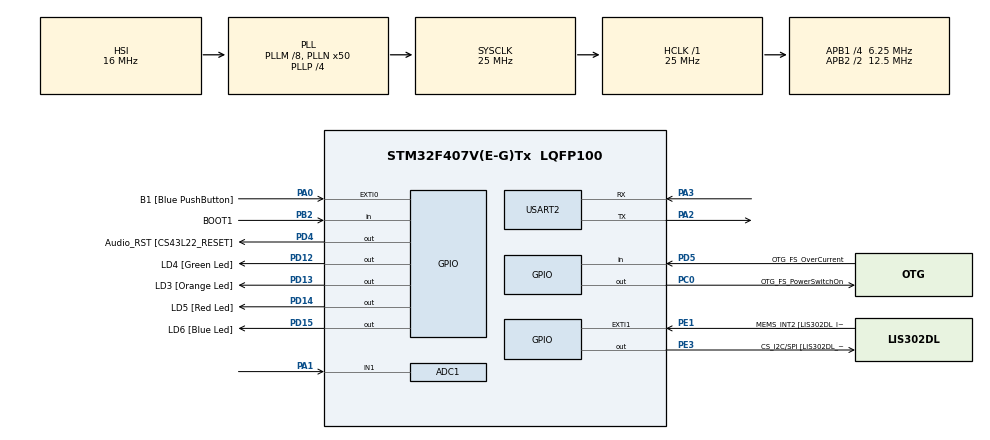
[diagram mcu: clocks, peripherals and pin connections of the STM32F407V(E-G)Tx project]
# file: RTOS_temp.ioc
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ADC1.Channel-0\#ChannelRegularConversion=ADC_CHANNEL_1
ADC1.NbrOfConversionFlag=1
ADC1.Rank-0\#ChannelRegularConversion=1
ADC1.SamplingTime-0\#ChannelRegularConversion=ADC_SAMPLETIME_84CYCLES
ADC1.master=1
Mcu.Family=STM32F4
Mcu.Name=STM32F407V(E-G)Tx
Mcu.Package=LQFP100
NVIC.ADC_IRQn=true\:5\:0\:true\:false\:true\:true\:true\:true
NVIC.PriorityGroup=NVIC_PRIORITYGROUP_4
NVIC.TIM2_IRQn=true\:6\:0\:true\:false\:true\:true\:true\:true
PA0-WKUP.GPIO_Label=B1 [Blue PushButton]
PA0-WKUP.Signal=GPXTI0
PA1.Signal=ADCx_IN1
PA10.GPIO_Label=OTG_FS_ID
PA10.GPIO_Mode=GPIO_MODE_AF_PP
PA10.GPIO_PuPd=GPIO_NOPULL
PA10.GPIO_Speed=GPIO_SPEED_FREQ_LOW
PA10.Signal=USB_OTG_FS_ID
PA11.GPIO_Label=OTG_FS_DM
PA11.GPIO_Mode=GPIO_MODE_AF_PP
PA11.GPIO_PuPd=GPIO_NOPULL
PA11.GPIO_Speed=GPIO_SPEED_FREQ_LOW
PA11.Signal=USB_OTG_FS_DM
PA12.GPIO_Label=OTG_FS_DP
PA12.GPIO_Mode=GPIO_MODE_AF_PP
PA12.GPIO_PuPd=GPIO_NOPULL
PA12.GPIO_Speed=GPIO_SPEED_FREQ_LOW
PA12.Signal=USB_OTG_FS_DP
PA13.GPIO_Label=SWDIO
PA13.Signal=SYS_JTMS-SWDIO
PA14.GPIO_Label=SWCLK
PA14.Signal=SYS_JTCK-SWCLK
PA2.Mode=Asynchronous
PA2.Signal=USART2_TX
PA3.Mode=Asynchronous
PA3.Signal=USART2_RX
PA4.GPIO_Label=I2S3_WS [CS43L22_LRCK]
PA4.GPIO_Mode=GPIO_MODE_AF_PP
PA4.GPIO_PuPd=GPIO_NOPULL
PA4.GPIO_Speed=GPIO_SPEED_FREQ_LOW
PA4.Signal=I2S3_WS
PA5.GPIO_Label=SPI1_SCK [LIS302DL_SCL/SPC]
PA5.GPIO_Mode=GPIO_MODE_AF_PP
PA5.GPIO_PuPd=GPIO_NOPULL
PA5.GPIO_Speed=GPIO_SPEED_FREQ_LOW
PA5.Signal=SPI1_SCK
PA6.GPIO_Label=SPI1_MISO [LIS302DL_SDO]
PA6.GPIO_Mode=GPIO_MODE_AF_PP
PA6.GPIO_PuPd=GPIO_NOPULL
PA6.GPIO_Speed=GPIO_SPEED_FREQ_LOW
PA6.Signal=SPI1_MISO
PA7.GPIO_Label=SPI1_MOSI [LIS302DL_SDA/SDI/SDO]
PA7.GPIO_Mode=GPIO_MODE_AF_PP
PA7.GPIO_PuPd=GPIO_NOPULL
PA7.GPIO_Speed=GPIO_SPEED_FREQ_LOW
PA7.Signal=SPI1_MOSI
PA9.GPIO_Label=VBUS_FS
PA9.GPIO_Mode=GPIO_MODE_INPUT
PA9.GPIO_PuPd=GPIO_NOPULL
PA9.Signal=USB_OTG_FS_VBUS
PB10.GPIO_Label=CLK_IN [MP45DT02_CLK]
PB10.GPIO_Mode=GPIO_MODE_AF_PP
PB10.GPIO_PuPd=GPIO_NOPULL
PB10.GPIO_Speed=GPIO_SPEED_FREQ_LOW
PB10.Signal=I2S2_CK
PB2.GPIO_Label=BOOT1
PB2.GPIO_Mode=GPIO_MODE_INPUT
PB2.GPIO_PuPd=GPIO_NOPULL
PB2.Signal=GPIO_Input
PB3.GPIO_Label=SWO
PB3.Signal=SYS_JTDO-SWO
PB6.GPIO_Label=Audio_SCL [CS43L22_SCL]
PB6.GPIO_Mode=GPIO_MODE_AF_OD
PB6.GPIO_PuPd=GPIO_NOPULL
PB6.GPIO_Speed=GPIO_SPEED_FREQ_LOW
PB6.Signal=I2C1_SCL
PB9.GPIO_Label=Audio_SDA [CS43L22_SDA]
PB9.GPIO_Mode=GPIO_MODE_AF_OD
PB9.GPIO_PuPd=GPIO_NOPULL
PB9.GPIO_Speed=GPIO_SPEED_FREQ_LOW
PB9.Signal=I2C1_SDA
PC0.GPIO_Label=OTG_FS_PowerSwitchOn
PC0.GPIO_PuPd=GPIO_NOPULL
PC0.GPIO_Speed=GPIO_SPEED_FREQ_LOW
PC0.PinState=GPIO_PIN_SET
PC0.Signal=GPIO_Output
PC10.GPIO_Label=I2S3_SCK [CS43L22_SCLK]
PC10.GPIO_Mode=GPIO_MODE_AF_PP
PC10.GPIO_PuPd=GPIO_NOPULL
PC10.GPIO_Speed=GPIO_SPEED_FREQ_LOW
PC10.Signal=I2S3_CK
PC12.GPIO_Label=I2S3_SD [CS43L22_SDIN]
PC12.GPIO_Mode=GPIO_MODE_AF_PP
PC12.GPIO_PuPd=GPIO_NOPULL
PC12.GPIO_Speed=GPIO_SPEED_FREQ_LOW
PC12.Signal=I2S3_SD
PC14-OSC32_IN.GPIO_Label=PC14-OSC32_IN
PC14-OSC32_IN.Signal=RCC_OSC32_IN
PC15-OSC32_OUT.GPIO_Label=PC15-OSC32_OUT
PC15-OSC32_OUT.Signal=RCC_OSC32_OUT
PC3.GPIO_Label=PDM_OUT [MP45DT02_DOUT]
PC3.GPIO_Mode=GPIO_MODE_AF_PP
PC3.GPIO_PuPd=GPIO_NOPULL
PC3.GPIO_Speed=GPIO_SPEED_FREQ_LOW
PC3.Signal=I2S2_SD
PC7.GPIO_Label=I2S3_MCK [CS43L22_MCLK]
PC7.GPIO_Mode=GPIO_MODE_AF_PP
PC7.GPIO_PuPd=GPIO_NOPULL
PC7.GPIO_Speed=GPIO_SPEED_FREQ_LOW
PC7.Signal=I2S3_MCK
PD12.GPIO_Label=LD4 [Green Led]
PD12.GPIO_PuPd=GPIO_NOPULL
PD12.GPIO_Speed=GPIO_SPEED_FREQ_LOW
PD12.Signal=GPIO_Output
PD13.GPIO_Label=LD3 [Orange Led]
PD13.GPIO_PuPd=GPIO_NOPULL
PD13.GPIO_Speed=GPIO_SPEED_FREQ_LOW
PD13.Signal=GPIO_Output
PD14.GPIO_Label=LD5 [Red Led]
PD14.GPIO_PuPd=GPIO_NOPULL
PD14.GPIO_Speed=GPIO_SPEED_FREQ_LOW
PD14.Signal=GPIO_Output
PD15.GPIO_Label=LD6 [Blue Led]
PD15.GPIO_PuPd=GPIO_NOPULL
PD15.GPIO_Speed=GPIO_SPEED_FREQ_LOW
PD15.Signal=GPIO_Output
PD4.GPIO_Label=Audio_RST [CS43L22_RESET]
PD4.GPIO_PuPd=GPIO_NOPULL
PD4.GPIO_Speed=GPIO_SPEED_FREQ_LOW
PD4.Signal=GPIO_Output
PD5.GPIO_Label=OTG_FS_OverCurrent
PD5.GPIO_Mode=GPIO_MODE_INPUT
PD5.GPIO_PuPd=GPIO_NOPULL
PD5.Signal=GPIO_Input
PE1.GPIO_Label=MEMS_INT2 [LIS302DL_INT2]
PE1.GPIO_ModeDefaultEXTI=GPIO_MODE_EVT_RISING
PE1.GPIO_PuPd=GPIO_NOPULL
PE1.Signal=GPXTI1
PE3.GPIO_Label=CS_I2C/SPI [LIS302DL_CS_I2C/SPI]
PE3.GPIO_PuPd=GPIO_NOPULL
PE3.GPIO_Speed=GPIO_SPEED_FREQ_LOW
PE3.Signal=GPIO_Output
PH0-OSC_IN.GPIO_Label=PH0-OSC_IN
PH0-OSC_IN.Signal=RCC_OSC_IN
PH1-OSC_OUT.GPIO_Label=PH1-OSC_OUT
PH1-OSC_OUT.Signal=RCC_OSC_OUT
ProjectManager.HeapSize=0x200
ProjectManager.StackSize=0x400
ProjectManager.TargetToolchain=STM32CubeIDE
RCC.48MHZClocksFreq_Value=14285714.285714285
RCC.AHBFreq_Value=25000000
RCC.APB1CLKDivider=RCC_HCLK_DIV4
RCC.APB1Freq_Value=6250000
RCC.APB1TimFreq_Value=12500000
RCC.APB2CLKDivider=RCC_HCLK_DIV2
RCC.APB2Freq_Value=12500000
RCC.APB2TimFreq_Value=25000000
RCC.CortexFreq_Value=25000000
RCC.HCLKFreq_Value=25000000
RCC.HSE_VALUE=8000000
RCC.HSI_VALUE=16000000
RCC.LSE_VALUE=32768
RCC.PLLM=8
RCC.PLLN=50
RCC.PLLP=RCC_PLLP_DIV4
RCC.PLLQ=7
RCC.SYSCLKFreq_VALUE=25000000
RCC.SYSCLKSource=RCC_SYSCLKSOURCE_PLLCLK
RCC.VCOOutputFreq_Value=100000000
SH.ADCx_IN1.0=ADC1_IN1,IN1
TIM2.Period=999
TIM2.Prescaler=12499
USART2.VirtualMode=VM_ASYNC
VP_TIM2_VS_ClockSourceINT.Mode=Internal
board=STM32F407G-DISC1

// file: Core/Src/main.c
/* USER CODE BEGIN Header */
/**
  ******************************************************************************
  * @file           : main.c
  * @brief          : Main program body
  ******************************************************************************
  * @attention
  *
  * Copyright (c) 2026 STMicroelectronics.
  * All rights reserved.
  *
  * This software is licensed under terms that can be found in the LICENSE file
  * in the root directory of this software component.
  * If no LICENSE file comes with this software, it is provided AS-IS.
  *
  ******************************************************************************
  */
/* USER CODE END Header */
#include "main.h"

/* USER CODE BEGIN Includes */

#include "FreeRTOS.h"
#include "task.h"
#include "queue.h"
#include <stdint.h>
#include <stdio.h>
#include <string.h>

/* USER CODE END Includes */

/* USER CODE BEGIN PD */

#define TEMP_THRESHOLD_C        30.0f
#define ADC_REFERENCE_VOLTAGE    3.3f
#define ADC_MAX_VALUE         4095.0f
#define TEMP_QUEUE_LENGTH        10U
#define UART_TIMEOUT_MS         200U

/* USER CODE END PD */

ADC_HandleTypeDef hadc1;

TIM_HandleTypeDef htim2;

UART_HandleTypeDef huart2;

/* USER CODE BEGIN PV */

/* FreeRTOS task handles */
TaskHandle_t xTempReadTaskHandle = NULL;
TaskHandle_t xTempProcessTaskHandle = NULL;
TaskHandle_t xTimeStartTaskHandle = NULL;

/* FreeRTOS queue handle */
QueueHandle_t xTempQueue = NULL;

/* Diagnostic counters */
volatile uint32_t ulADCStartErrors = 0;
volatile uint32_t ulDroppedSamples = 0;
volatile uint32_t ulUARTTransmitErrors = 0;

/* USER CODE END PV */

void SystemClock_Config(void);
static void MX_GPIO_Init(void);
static void MX_ADC1_Init(void);
static void MX_TIM2_Init(void);
static void MX_USART2_UART_Init(void);
/* USER CODE BEGIN PFP */

/* Temperature acquisition task */
void vTaskReadTemperature(void *pvParameters);

/* Temperature processing task */
void vTaskProcessTemperature(void *pvParameters);

/* Timer initialization task */
void vTaskStartTime(void *pvParameters);

/* ADC to temperature conversion */
float ADC_To_Temperature(uint32_t rawADC);

/* USER CODE END PFP */

int main(void)
{

  /* MCU Configuration--------------------------------------------------------*/

  /* Reset of all peripherals, Initializes the Flash interface and the Systick. */
  HAL_Init();

  /* Configure the system clock */
  SystemClock_Config();

  /* Initialize all configured peripherals */
  MX_GPIO_Init();
  MX_ADC1_Init();
  MX_TIM2_Init();
  MX_USART2_UART_Init();
  /* USER CODE BEGIN 2 */

  BaseType_t task_1;
  BaseType_t task_2;
  BaseType_t task_3;

  /* Create temperature queue */
  xTempQueue = xQueueCreate(TEMP_QUEUE_LENGTH, sizeof(float));

  if (xTempQueue == NULL)
  {
      Error_Handler();
  }

  /* Task 1: Temperature acquisition */
  task_1 = xTaskCreate(
      vTaskReadTemperature,
      "ReadTemp",
      256,
      NULL,
      tskIDLE_PRIORITY + 2,
      &xTempReadTaskHandle
  );

  /* Task 2: Temperature processing */
  task_2 = xTaskCreate(
      vTaskProcessTemperature,
      "ProcessTemp",
      512,
      NULL,
      tskIDLE_PRIORITY + 1,
      &xTempProcessTaskHandle
  );

  /* Task 3: Start TIM2 */
  task_3 = xTaskCreate(
      vTaskStartTime,
      "StartTime",
      200,
      NULL,
      tskIDLE_PRIORITY + 3,
      &xTimeStartTaskHandle
  );

  /* Verify task creation */
  if ((task_1 != pdPASS) ||
      (task_2 != pdPASS) ||
      (task_3 != pdPASS))
  {
      Error_Handler();
  }

  /* Start FreeRTOS scheduler */
  vTaskStartScheduler();

  /* Scheduler should never return */
  Error_Handler();

  /* USER CODE END 2 */

  /* Infinite loop */
  while (1)
  {

  }
}

void SystemClock_Config(void)
{
  RCC_OscInitTypeDef RCC_OscInitStruct = {0};
  RCC_ClkInitTypeDef RCC_ClkInitStruct = {0};

  /** Configure the main internal regulator output voltage
  */
  __HAL_RCC_PWR_CLK_ENABLE();
  __HAL_PWR_VOLTAGESCALING_CONFIG(PWR_REGULATOR_VOLTAGE_SCALE1);

  /** Initializes the RCC Oscillators according to the specified parameters
  * in the RCC_OscInitTypeDef structure.
  */
  RCC_OscInitStruct.OscillatorType = RCC_OSCILLATORTYPE_HSI;
  RCC_OscInitStruct.HSIState = RCC_HSI_ON;
  RCC_OscInitStruct.HSICalibrationValue = RCC_HSICALIBRATION_DEFAULT;
  RCC_OscInitStruct.PLL.PLLState = RCC_PLL_ON;
  RCC_OscInitStruct.PLL.PLLSource = RCC_PLLSOURCE_HSI;
  RCC_OscInitStruct.PLL.PLLM = 8;
  RCC_OscInitStruct.PLL.PLLN = 50;
  RCC_OscInitStruct.PLL.PLLP = RCC_PLLP_DIV4;
  RCC_OscInitStruct.PLL.PLLQ = 7;
  if (HAL_RCC_OscConfig(&RCC_OscInitStruct) != HAL_OK)
  {
    Error_Handler();
  }

  /** Initializes the CPU, AHB and APB buses clocks
  */
  RCC_ClkInitStruct.ClockType = RCC_CLOCKTYPE_HCLK|RCC_CLOCKTYPE_SYSCLK
                              |RCC_CLOCKTYPE_PCLK1|RCC_CLOCKTYPE_PCLK2;
  RCC_ClkInitStruct.SYSCLKSource = RCC_SYSCLKSOURCE_PLLCLK;
  RCC_ClkInitStruct.AHBCLKDivider = RCC_SYSCLK_DIV1;
  RCC_ClkInitStruct.APB1CLKDivider = RCC_HCLK_DIV4;
  RCC_ClkInitStruct.APB2CLKDivider = RCC_HCLK_DIV2;

  if (HAL_RCC_ClockConfig(&RCC_ClkInitStruct, FLASH_LATENCY_0) != HAL_OK)
  {
    Error_Handler();
  }
}

static void MX_ADC1_Init(void)
{

  ADC_ChannelConfTypeDef sConfig = {0};

  /** Configure the global features of the ADC (Clock, Resolution, Data Alignment and number of conversion)
  */
  hadc1.Instance = ADC1;
  hadc1.Init.ClockPrescaler = ADC_CLOCK_SYNC_PCLK_DIV2;
  hadc1.Init.Resolution = ADC_RESOLUTION_12B;
  hadc1.Init.ScanConvMode = DISABLE;
  hadc1.Init.ContinuousConvMode = DISABLE;
  hadc1.Init.DiscontinuousConvMode = DISABLE;
  hadc1.Init.ExternalTrigConvEdge = ADC_EXTERNALTRIGCONVEDGE_NONE;
  hadc1.Init.ExternalTrigConv = ADC_SOFTWARE_START;
  hadc1.Init.DataAlign = ADC_DATAALIGN_RIGHT;
  hadc1.Init.NbrOfConversion = 1;
  hadc1.Init.DMAContinuousRequests = DISABLE;
  hadc1.Init.EOCSelection = ADC_EOC_SINGLE_CONV;
  if (HAL_ADC_Init(&hadc1) != HAL_OK)
  {
    Error_Handler();
  }

  /** Configure for the selected ADC regular channel its corresponding rank in the sequencer and its sample time.
  */
  sConfig.Channel = ADC_CHANNEL_1;
  sConfig.Rank = 1;
  sConfig.SamplingTime = ADC_SAMPLETIME_84CYCLES;
  if (HAL_ADC_ConfigChannel(&hadc1, &sConfig) != HAL_OK)
  {
    Error_Handler();
  }

}

static void MX_TIM2_Init(void)
{

  TIM_ClockConfigTypeDef sClockSourceConfig = {0};
  TIM_MasterConfigTypeDef sMasterConfig = {0};

  htim2.Instance = TIM2;
  htim2.Init.Prescaler = 12499;
  htim2.Init.CounterMode = TIM_COUNTERMODE_UP;
  htim2.Init.Period = 999;
  htim2.Init.ClockDivision = TIM_CLOCKDIVISION_DIV1;
  htim2.Init.AutoReloadPreload = TIM_AUTORELOAD_PRELOAD_DISABLE;
  if (HAL_TIM_Base_Init(&htim2) != HAL_OK)
  {
    Error_Handler();
  }
  sClockSourceConfig.ClockSource = TIM_CLOCKSOURCE_INTERNAL;
  if (HAL_TIM_ConfigClockSource(&htim2, &sClockSourceConfig) != HAL_OK)
  {
    Error_Handler();
  }
  sMasterConfig.MasterOutputTrigger = TIM_TRGO_RESET;
  sMasterConfig.MasterSlaveMode = TIM_MASTERSLAVEMODE_DISABLE;
  if (HAL_TIMEx_MasterConfigSynchronization(&htim2, &sMasterConfig) != HAL_OK)
  {
    Error_Handler();
  }

}

static void MX_USART2_UART_Init(void)
{

  huart2.Instance = USART2;
  huart2.Init.BaudRate = 115200;
  huart2.Init.WordLength = UART_WORDLENGTH_8B;
  huart2.Init.StopBits = UART_STOPBITS_1;
  huart2.Init.Parity = UART_PARITY_NONE;
  huart2.Init.Mode = UART_MODE_TX_RX;
  huart2.Init.HwFlowCtl = UART_HWCONTROL_NONE;
  huart2.Init.OverSampling = UART_OVERSAMPLING_16;
  if (HAL_UART_Init(&huart2) != HAL_OK)
  {
    Error_Handler();
  }

}

static void MX_GPIO_Init(void)
{
  GPIO_InitTypeDef GPIO_InitStruct = {0};

  /* GPIO Ports Clock Enable */
  __HAL_RCC_GPIOE_CLK_ENABLE();
  __HAL_RCC_GPIOC_CLK_ENABLE();
  __HAL_RCC_GPIOH_CLK_ENABLE();
  __HAL_RCC_GPIOA_CLK_ENABLE();
  __HAL_RCC_GPIOB_CLK_ENABLE();
  __HAL_RCC_GPIOD_CLK_ENABLE();

  /*Configure GPIO pin Output Level */
  HAL_GPIO_WritePin(CS_I2C_SPI_GPIO_Port, CS_I2C_SPI_Pin, GPIO_PIN_RESET);

  /*Configure GPIO pin Output Level */
  HAL_GPIO_WritePin(OTG_FS_PowerSwitchOn_GPIO_Port, OTG_FS_PowerSwitchOn_Pin, GPIO_PIN_SET);

  /*Configure GPIO pin Output Level */
  HAL_GPIO_WritePin(GPIOD, LD4_Pin|LD3_Pin|LD5_Pin|LD6_Pin
                          |Audio_RST_Pin, GPIO_PIN_RESET);

  /*Configure GPIO pin : CS_I2C_SPI_Pin */
  GPIO_InitStruct.Pin = CS_I2C_SPI_Pin;
  GPIO_InitStruct.Mode = GPIO_MODE_OUTPUT_PP;
  GPIO_InitStruct.Pull = GPIO_NOPULL;
  GPIO_InitStruct.Speed = GPIO_SPEED_FREQ_LOW;
  HAL_GPIO_Init(CS_I2C_SPI_GPIO_Port, &GPIO_InitStruct);

  /*Configure GPIO pin : OTG_FS_PowerSwitchOn_Pin */
  GPIO_InitStruct.Pin = OTG_FS_PowerSwitchOn_Pin;
  GPIO_InitStruct.Mode = GPIO_MODE_OUTPUT_PP;
  GPIO_InitStruct.Pull = GPIO_NOPULL;
  GPIO_InitStruct.Speed = GPIO_SPEED_FREQ_LOW;
  HAL_GPIO_Init(OTG_FS_PowerSwitchOn_GPIO_Port, &GPIO_InitStruct);

  /*Configure GPIO pin : PDM_OUT_Pin */
  GPIO_InitStruct.Pin = PDM_OUT_Pin;
  GPIO_InitStruct.Mode = GPIO_MODE_AF_PP;
  GPIO_InitStruct.Pull = GPIO_NOPULL;
  GPIO_InitStruct.Speed = GPIO_SPEED_FREQ_LOW;
  GPIO_InitStruct.Alternate = GPIO_AF5_SPI2;
  HAL_GPIO_Init(PDM_OUT_GPIO_Port, &GPIO_InitStruct);

  /*Configure GPIO pin : B1_Pin */
  GPIO_InitStruct.Pin = B1_Pin;
  GPIO_InitStruct.Mode = GPIO_MODE_IT_RISING;
  GPIO_InitStruct.Pull = GPIO_NOPULL;
  HAL_GPIO_Init(B1_GPIO_Port, &GPIO_InitStruct);

  /*Configure GPIO pin : I2S3_WS_Pin */
  GPIO_InitStruct.Pin = I2S3_WS_Pin;
  GPIO_InitStruct.Mode = GPIO_MODE_AF_PP;
  GPIO_InitStruct.Pull = GPIO_NOPULL;
  GPIO_InitStruct.Speed = GPIO_SPEED_FREQ_LOW;
  GPIO_InitStruct.Alternate = GPIO_AF6_SPI3;
  HAL_GPIO_Init(I2S3_WS_GPIO_Port, &GPIO_InitStruct);

  /*Configure GPIO pins : SPI1_SCK_Pin SPI1_MISO_Pin SPI1_MOSI_Pin */
  GPIO_InitStruct.Pin = SPI1_SCK_Pin|SPI1_MISO_Pin|SPI1_MOSI_Pin;
  GPIO_InitStruct.Mode = GPIO_MODE_AF_PP;
  GPIO_InitStruct.Pull = GPIO_NOPULL;
  GPIO_InitStruct.Speed = GPIO_SPEED_FREQ_LOW;
  GPIO_InitStruct.Alternate = GPIO_AF5_SPI1;
  HAL_GPIO_Init(GPIOA, &GPIO_InitStruct);

  /*Configure GPIO pin : BOOT1_Pin */
  GPIO_InitStruct.Pin = BOOT1_Pin;
  GPIO_InitStruct.Mode = GPIO_MODE_INPUT;
  GPIO_InitStruct.Pull = GPIO_NOPULL;
  HAL_GPIO_Init(BOOT1_GPIO_Port, &GPIO_InitStruct);

  /*Configure GPIO pin : CLK_IN_Pin */
  GPIO_InitStruct.Pin = CLK_IN_Pin;
  GPIO_InitStruct.Mode = GPIO_MODE_AF_PP;
  GPIO_InitStruct.Pull = GPIO_NOPULL;
  GPIO_InitStruct.Speed = GPIO_SPEED_FREQ_LOW;
  GPIO_InitStruct.Alternate = GPIO_AF5_SPI2;
  HAL_GPIO_Init(CLK_IN_GPIO_Port, &GPIO_InitStruct);

  /*Configure GPIO pins : LD4_Pin LD3_Pin LD5_Pin LD6_Pin
                           Audio_RST_Pin */
  GPIO_InitStruct.Pin = LD4_Pin|LD3_Pin|LD5_Pin|LD6_Pin
                          |Audio_RST_Pin;
  GPIO_InitStruct.Mode = GPIO_MODE_OUTPUT_PP;
  GPIO_InitStruct.Pull = GPIO_NOPULL;
  GPIO_InitStruct.Speed = GPIO_SPEED_FREQ_LOW;
  HAL_GPIO_Init(GPIOD, &GPIO_InitStruct);

  /*Configure GPIO pins : I2S3_MCK_Pin I2S3_SCK_Pin I2S3_SD_Pin */
  GPIO_InitStruct.Pin = I2S3_MCK_Pin|I2S3_SCK_Pin|I2S3_SD_Pin;
  GPIO_InitStruct.Mode = GPIO_MODE_AF_PP;
  GPIO_InitStruct.Pull = GPIO_NOPULL;
  GPIO_InitStruct.Speed = GPIO_SPEED_FREQ_LOW;
  GPIO_InitStruct.Alternate = GPIO_AF6_SPI3;
  HAL_GPIO_Init(GPIOC, &GPIO_InitStruct);

  /*Configure GPIO pin : VBUS_FS_Pin */
  GPIO_InitStruct.Pin = VBUS_FS_Pin;
  GPIO_InitStruct.Mode = GPIO_MODE_INPUT;
  GPIO_InitStruct.Pull = GPIO_NOPULL;
  HAL_GPIO_Init(VBUS_FS_GPIO_Port, &GPIO_InitStruct);

  /*Configure GPIO pins : OTG_FS_ID_Pin OTG_FS_DM_Pin OTG_FS_DP_Pin */
  GPIO_InitStruct.Pin = OTG_FS_ID_Pin|OTG_FS_DM_Pin|OTG_FS_DP_Pin;
  GPIO_InitStruct.Mode = GPIO_MODE_AF_PP;
  GPIO_InitStruct.Pull = GPIO_NOPULL;
  GPIO_InitStruct.Speed = GPIO_SPEED_FREQ_LOW;
  GPIO_InitStruct.Alternate = GPIO_AF10_OTG_FS;
  HAL_GPIO_Init(GPIOA, &GPIO_InitStruct);

  /*Configure GPIO pin : OTG_FS_OverCurrent_Pin */
  GPIO_InitStruct.Pin = OTG_FS_OverCurrent_Pin;
  GPIO_InitStruct.Mode = GPIO_MODE_INPUT;
  GPIO_InitStruct.Pull = GPIO_NOPULL;
  HAL_GPIO_Init(OTG_FS_OverCurrent_GPIO_Port, &GPIO_InitStruct);

  /*Configure GPIO pins : Audio_SCL_Pin Audio_SDA_Pin */
  GPIO_InitStruct.Pin = Audio_SCL_Pin|Audio_SDA_Pin;
  GPIO_InitStruct.Mode = GPIO_MODE_AF_OD;
  GPIO_InitStruct.Pull = GPIO_NOPULL;
  GPIO_InitStruct.Speed = GPIO_SPEED_FREQ_LOW;
  GPIO_InitStruct.Alternate = GPIO_AF4_I2C1;
  HAL_GPIO_Init(GPIOB, &GPIO_InitStruct);

  /*Configure GPIO pin : MEMS_INT2_Pin */
  GPIO_InitStruct.Pin = MEMS_INT2_Pin;
  GPIO_InitStruct.Mode = GPIO_MODE_EVT_RISING;
  GPIO_InitStruct.Pull = GPIO_NOPULL;
  HAL_GPIO_Init(MEMS_INT2_GPIO_Port, &GPIO_InitStruct);

}

/* USER CODE BEGIN 4 */

/*
 * TASK 3 - START TIMER
 * Starts TIM2 after FreeRTOS scheduler begins.
 */
void vTaskStartTime(void *pvParameters)
{
    (void)pvParameters;

    if (HAL_TIM_Base_Start_IT(&htim2) != HAL_OK)
    {
        Error_Handler();
    }

    /* Timer continues running after task deletion */
    vTaskDelete(NULL);
}

/*
 * TIM2 PERIOD ELAPSED CALLBACK
 * Called every 1 second.
 * Starts ADC conversion in interrupt mode.
 */
void HAL_TIM_PeriodElapsedCallback(TIM_HandleTypeDef *htim)
{
    if (htim->Instance == TIM2)
    {
        if (HAL_ADC_Start_IT(&hadc1) != HAL_OK)
        {
            ulADCStartErrors++;
        }
    }
}

/*
 * ADC CONVERSION COMPLETE CALLBACK
 * Reads ADC result and notifies ReadTemp task.
 */
void HAL_ADC_ConvCpltCallback(ADC_HandleTypeDef *hadc)
{
    if (hadc->Instance == ADC1)
    {
        BaseType_t xHigherPriorityTaskWoken = pdFALSE;

        uint32_t rawADC = HAL_ADC_GetValue(hadc);

        if (xTempReadTaskHandle != NULL)
        {
            xTaskNotifyFromISR(
                xTempReadTaskHandle,
                rawADC,
                eSetValueWithOverwrite,
                &xHigherPriorityTaskWoken
            );

            portYIELD_FROM_ISR(xHigherPriorityTaskWoken);
        }
    }
}

/*
 * ADC TO TEMPERATURE CONVERSION
 * TMP36 sensor, 12-bit ADC, 3.3V reference.
 */
float ADC_To_Temperature(uint32_t rawADC)
{
    float voltage;

    voltage = ((float)rawADC / ADC_MAX_VALUE)
              * ADC_REFERENCE_VOLTAGE;

    return (voltage - 0.5f) * 100.0f;
}

/*
 * TASK 1 - TEMPERATURE ACQUISITION
 * Priority 2
 */
void vTaskReadTemperature(void *pvParameters)
{
    (void)pvParameters;

    uint32_t rawADC = 0;
    float temperatureC = 0.0f;

    for (;;)
    {
        if (xTaskNotifyWait(
                0,
                0,
                &rawADC,
                portMAX_DELAY
            ) == pdTRUE)
        {
            temperatureC = ADC_To_Temperature(rawADC);

            if (xQueueSend(
                    xTempQueue,
                    &temperatureC,
                    0
                ) != pdPASS)
            {
                ulDroppedSamples++;
            }
        }
    }
}

/*
 * TASK 2 - TEMPERATURE PROCESSING
 * Priority 1
 */
void vTaskProcessTemperature(void *pvParameters)
{
    (void)pvParameters;

    float receivedTemp = 0.0f;
    char buffer[64];

    const char warning[] =
        "WARNING: Over-temperature threshold exceeded!\r\n";

    for (;;)
    {
        if (xQueueReceive(
                xTempQueue,
                &receivedTemp,
                portMAX_DELAY
            ) == pdTRUE)
        {
        	int len = snprintf(
        	    buffer,
        	    sizeof(buffer),
        	    "Temperature: %.2f C\r\n",
        	    receivedTemp
        	);

            /* Validate formatted message length */
            if ((len > 0) &&
                ((size_t)len < sizeof(buffer)))
            {
                if (HAL_UART_Transmit(
                        &huart2,
                        (uint8_t *)buffer,
                        (uint16_t)len,
                        UART_TIMEOUT_MS
                    ) != HAL_OK)
                {
                    ulUARTTransmitErrors++;
                }
            }
            else
            {
                ulUARTTransmitErrors++;
            }

            /* Check over-temperature condition */
            if (receivedTemp > TEMP_THRESHOLD_C)
            {
                if (HAL_UART_Transmit(
                        &huart2,
                        (uint8_t *)warning,
                        (uint16_t)(sizeof(warning) - 1U),
                        UART_TIMEOUT_MS
                    ) != HAL_OK)
                {
                    ulUARTTransmitErrors++;
                }
            }
        }
    }
}

/* USER CODE END 4 */

void Error_Handler(void)
{
  __disable_irq();
  while (1)
  {
  }
}
